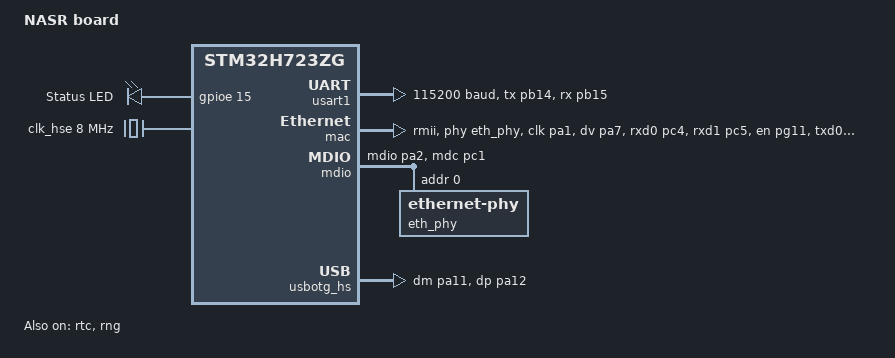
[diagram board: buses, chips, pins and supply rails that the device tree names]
/*
 * Copyright (c) 2020 Alexander Kozhinov <ak.alexander.kozhinov@gmail.com>
 * SPDX-License-Identifier: Apache-2.0
 */

/dts-v1/;
#include <st/h7/stm32h723Xg.dtsi>
#include <st/h7/stm32h723zgtx-pinctrl.dtsi>
#include <zephyr/dt-bindings/input/input-event-codes.h>
#include <zephyr/dt-bindings/gpio/gpio.h>

/*
 * WARNING:
 * JP6 and SB72 must be ON when using Ethernet.

   compatible = "st,stm32h723zg-nucleo";
 */

/ {
	model = "NASR board";
	compatible = "st,stm32h723zg-nucleo";

	chosen {
/*
		zephyr,console = &usart1;
		zephyr,shell-uart = &usart1;
*/
		zephyr,console = &usart1;
		zephyr,shell-uart = &usart1;

		zephyr,dtcm = &dtcm;
		zephyr,sram = &sram0;
		zephyr,flash = &flash0;
	};

	leds: leds {
		compatible = "gpio-leds";

		status_led: led_0 {
			gpios = <&gpioe 15 GPIO_ACTIVE_HIGH>;
			label = "Status LED";
		};
	};

	aliases {
		led0 = &status_led;
	};
};

&gpioe {
	status = "okay";
};

/*
&clk_hsi {
};
*/


&clk_hse {
	status = "ok";
	clock-frequency = <DT_FREQ_M(8)>;
/*	clock_cells = <1>; */
};

&pll {
	div-m = <32>;
	mul-n = <129>;
	div-p = <2>;
	div-q = <2>;
	div-r = <2>;
	clocks = <&clk_hse>;
	status = "okay";
};

&pll2 {
	clocks = <&clk_hse>;
	status = "disabled";
};

&pll3 {
	div-m = <32>;
	mul-n = <129>;
	div-p = <2>;
	div-q = <2>;
	div-r = <2>;
	clocks = <&clk_hse>;
	status = "okay";
};

&rcc {
	clocks = <&pll>;
	clock-frequency = <DT_FREQ_M(480)>;
	d1cpre = <1>;
	hpre = <2>;
	d1ppre = <2>;
	d2ppre1 = <2>;
	d2ppre2 = <2>;
	d3ppre = <2>;
};

&usart1 {
	pinctrl-0 = <&usart1_tx_pb14 &usart1_rx_pb15>;
	pinctrl-names = "default";
	current-speed = <115200>;
	status = "okay";
};


&rtc {
	clocks = <&rcc STM32_CLOCK(APB4, 16)>,
		 <&rcc STM32_SRC_LSI RTC_SEL(2)>;
	status = "okay";
};

/*
&spi1 {
	status = "okay";
	pinctrl-0 = <&spi1_sck_pa5 &spi1_miso_pa6 &spi1_mosi_pb5>;
	pinctrl-names = "default";
	cs-gpios = <&gpiod 14 (GPIO_ACTIVE_LOW | GPIO_PULL_UP)>;
};

&i2c1 {
	pinctrl-0 = <&i2c1_scl_pb8 &i2c1_sda_pb9>;
	pinctrl-names = "default";
	status = "okay";
	clock-frequency = <I2C_BITRATE_FAST>;
};
*/

&backup_sram {
	status = "okay";
};

/*

&timers12 {
	st,prescaler = <10000>;
	status = "okay";

	pwm12: pwm {
		status = "okay";
		pinctrl-0 = <&tim12_ch1_pb14>;
		pinctrl-names = "default";
	};
};
*/

&mac {
	status = "okay";
	pinctrl-0 = <&eth_ref_clk_pa1
		     &eth_crs_dv_pa7
		     &eth_rxd0_pc4
		     &eth_rxd1_pc5
		     &eth_tx_en_pg11
		     &eth_txd0_pg13
		     &eth_txd1_pb13>;
	pinctrl-names = "default";
	phy-connection-type = "rmii";
	phy-handle = <&eth_phy>;
};

&mdio {
	status = "okay";
	pinctrl-0 = <&eth_mdio_pa2 &eth_mdc_pc1>;
	pinctrl-names = "default";

	eth_phy: ethernet-phy@0 {
		compatible = "ethernet-phy";
		reg = <0>;
	};
};

zephyr_udc0: &usbotg_hs {
	pinctrl-0 = <&usb_otg_hs_dm_pa11 &usb_otg_hs_dp_pa12>;
	pinctrl-names = "default";
	status = "okay";
};

&rng {
	status = "okay";
};

